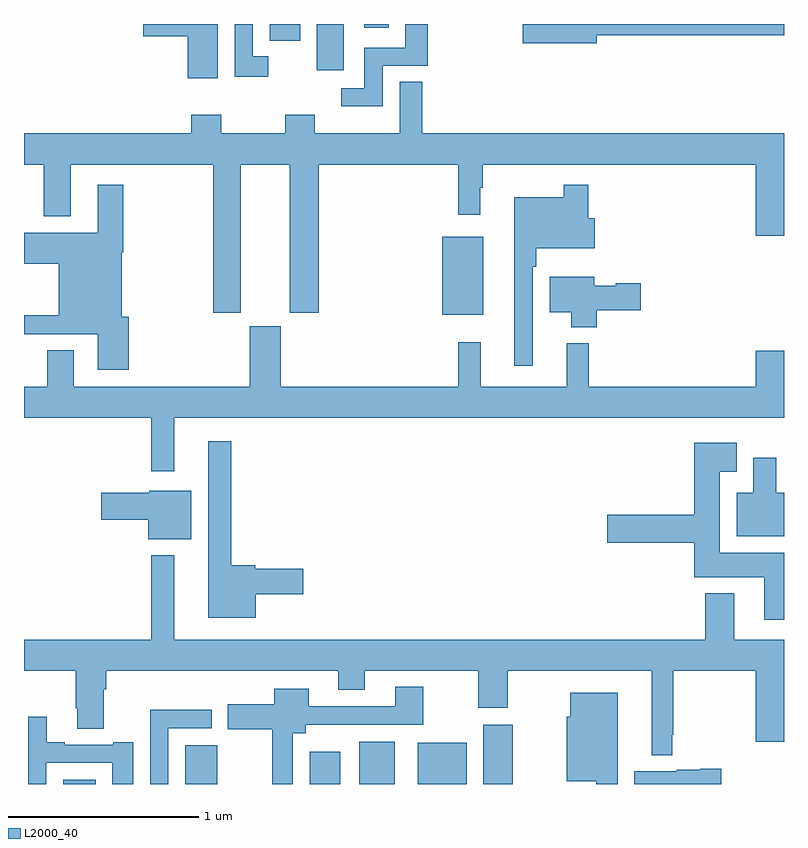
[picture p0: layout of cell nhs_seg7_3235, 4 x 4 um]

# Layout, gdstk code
import gdstk
lib = gdstk.Library(unit=1e-6, precision=1e-09)
def R(c, l, rs):  # rectangles x0, y0, x1, y1
    for r in rs: c.add(gdstk.rectangle(r[:2], r[2:], *l))
def P(c, l, *ps):  # polygons
    for p in ps: c.add(gdstk.Polygon(p, *l))
L2000_40 = (2000, 40)

nhs_seg7_3235 = lib.new_cell('nhs_seg7_3235')
R(nhs_seg7_3235, L2000_40, [(317.207,1020,317.377,1020.022), (317.849,1020,318.016,1020.205), (318.503,1020,318.664,1020.169), (318.764,1020,318.952,1020.223), (319.073,1020,319.33,1020.217), (319.418,1020,319.573,1020.313), (319.202,1022.471,319.417,1022.881), (318.542,1023.756,318.682,1024), (318.293,1023.912,318.454,1024), (318.792,1023.981,318.919,1024)])
P(nhs_seg7_3235, L2000_40, [(318.019,1024),(317.628,1024),(317.628,1023.935),(317.861,1023.935),(317.861,1023.714),(318.019,1023.714)],
  [(318.286,1023.831),(318.204,1023.831),(318.204,1024),(318.108,1024),(318.108,1023.723),(318.286,1023.723)],
  [(320.014,1023.94),(321,1023.94),(321,1024),(319.626,1024),(319.626,1023.898),(320.014,1023.898)],
  [(318.888,1023.78),(319.126,1023.78),(319.126,1024),(319.007,1024),(319.007,1023.876),(318.792,1023.876),(318.792,1023.663),(318.669,1023.663),(318.669,1023.566),(318.888,1023.566)],
  [(319.096,1023.695),(318.977,1023.695),(318.977,1023.424),(318.531,1023.424),(318.531,1023.523),(318.376,1023.523),(318.376,1023.424),(318.039,1023.424),(318.039,1023.523),(317.879,1023.523),(317.879,1023.424),(317,1023.424),(317,1023.26),(317.105,1023.26),(317.105,1022.987),(317.245,1022.987),(317.245,1023.26),(317.995,1023.26),(317.995,1022.481),(318.142,1022.481),(318.142,1023.26),(318.398,1023.26),(318.398,1022.481),(318.551,1022.481),(318.551,1023.26),(319.285,1023.26),(319.285,1022.997),(319.402,1022.997),(319.402,1023.137),(319.414,1023.137),(319.414,1023.26),(320.852,1023.26),(320.852,1022.886),(321,1022.886),(321,1023.424),(319.096,1023.424)],
  [(319.677,1022.723),(319.697,1022.723),(319.697,1022.819),(320.005,1022.819),(320.005,1022.977),(319.97,1022.977),(319.97,1023.154),(319.842,1023.154),(319.842,1023.088),(319.58,1023.088),(319.58,1022.202),(319.677,1022.202)],
  [(317.552,1022.46),(317.515,1022.46),(317.515,1022.798),(317.523,1022.798),(317.523,1023.154),(317.387,1023.154),(317.387,1022.902),(317,1022.902),(317,1022.738),(317.183,1022.738),(317.183,1022.468),(317,1022.468),(317,1022.367),(317.387,1022.367),(317.387,1022.181),(317.552,1022.181)],
  [(320.015,1022.494),(320.245,1022.494),(320.245,1022.636),(320.115,1022.636),(320.115,1022.623),(320.002,1022.623),(320.002,1022.671),(319.766,1022.671),(319.766,1022.483),(319.88,1022.483),(319.88,1022.405),(320.015,1022.405)],
  [(317.791,1021.928),(321,1021.928),(321,1022.281),(320.852,1022.281),(320.852,1022.092),(319.973,1022.092),(319.973,1022.32),(319.856,1022.32),(319.856,1022.092),(319.403,1022.092),(319.403,1022.326),(319.285,1022.326),(319.285,1022.092),(318.352,1022.092),(318.352,1022.409),(318.188,1022.409),(318.188,1022.092),(317.263,1022.092),(317.263,1022.282),(317.123,1022.282),(317.123,1022.092),(317,1022.092),(317,1021.928),(317.67,1021.928),(317.67,1021.647),(317.791,1021.647)],
  [(318.22,1020.998),(318.469,1020.998),(318.469,1021.133),(318.216,1021.133),(318.216,1021.151),(318.091,1021.151),(318.091,1021.804),(317.969,1021.804),(317.969,1020.875),(318.22,1020.875)],
  [(321,1021.216),(320.662,1021.216),(320.662,1021.643),(320.752,1021.643),(320.752,1021.795),(320.528,1021.795),(320.528,1021.418),(320.07,1021.418),(320.07,1021.271),(320.528,1021.271),(320.528,1021.088),(320.897,1021.088),(320.897,1020.864),(321,1020.864)],
  [(321,1021.534),(320.959,1021.534),(320.959,1021.717),(320.837,1021.717),(320.837,1021.534),(320.75,1021.534),(320.75,1021.304),(321,1021.304)],
  [(317.881,1021.543),(317.658,1021.543),(317.658,1021.533),(317.406,1021.533),(317.406,1021.391),(317.654,1021.391),(317.654,1021.289),(317.881,1021.289)],
  [(320.413,1020.259),(320.417,1020.259),(320.417,1020.596),(320.852,1020.596),(320.852,1020.222),(321,1020.222),(321,1020.76),(320.737,1020.76),(320.737,1021.003),(320.585,1021.003),(320.585,1020.76),(317.791,1020.76),(317.791,1021.204),(317.67,1021.204),(317.67,1020.76),(317,1020.76),(317,1020.596),(317.272,1020.596),(317.272,1020.4),(317.279,1020.4),(317.279,1020.292),(317.419,1020.292),(317.419,1020.5),(317.432,1020.5),(317.432,1020.596),(318.653,1020.596),(318.653,1020.497),(318.793,1020.497),(318.793,1020.596),(319.39,1020.596),(319.39,1020.402),(319.545,1020.402),(319.545,1020.596),(320.303,1020.596),(320.303,1020.152),(320.413,1020.152)],
  [(318.414,1020.266),(318.484,1020.266),(318.484,1020.312),(319.101,1020.312),(319.101,1020.511),(318.953,1020.511),(318.953,1020.408),(318.499,1020.408),(318.499,1020.502),(318.317,1020.502),(318.317,1020.421),(318.073,1020.421),(318.073,1020.287),(318.306,1020.287),(318.306,1020),(318.414,1020)],
  [(320.125,1020.481),(319.874,1020.481),(319.874,1020.354),(319.856,1020.354),(319.856,1020.014),(320.011,1020.014),(320.011,1020),(320.125,1020)],
  [(317.76,1020.294),(317.988,1020.294),(317.988,1020.392),(317.664,1020.392),(317.664,1020),(317.76,1020)],
  [(317.118,1020.111),(317.465,1020.111),(317.465,1020),(317.575,1020),(317.575,1020.22),(317.471,1020.22),(317.471,1020.207),(317.215,1020.207),(317.215,1020.22),(317.119,1020.22),(317.119,1020.355),(317.022,1020.355),(317.022,1020),(317.118,1020)],
  [(320.671,1020.08),(320.558,1020.08),(320.558,1020.074),(320.436,1020.074),(320.436,1020.067),(320.213,1020.067),(320.213,1020),(320.671,1020)])

lib.write_gds('nhs_seg7_3235.gds')
